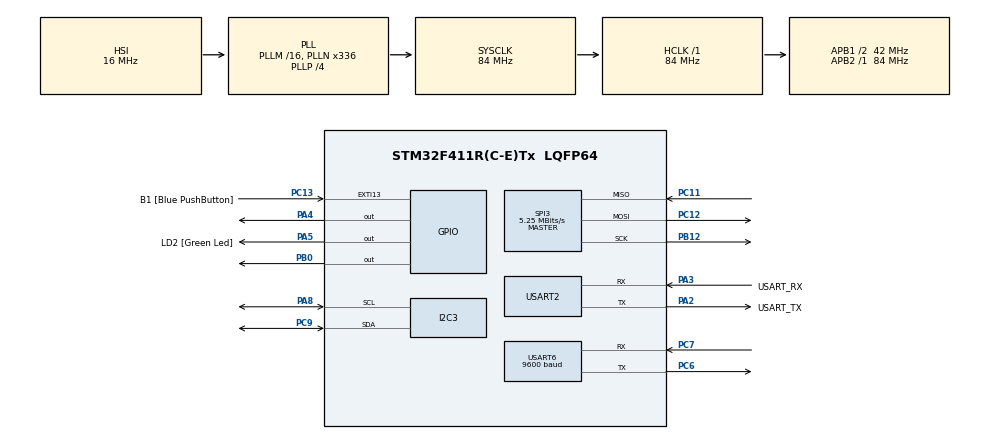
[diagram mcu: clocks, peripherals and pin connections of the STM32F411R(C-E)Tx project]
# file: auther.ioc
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Mcu.Family=STM32F4
Mcu.Name=STM32F411R(C-E)Tx
Mcu.Package=LQFP64
NVIC.PriorityGroup=NVIC_PRIORITYGROUP_0
NVIC.TIM3_IRQn=true\:0\:0\:false\:false\:true\:true\:true\:true
NVIC.USART6_IRQn=true\:0\:0\:false\:false\:true\:true\:true\:true
PA13.GPIO_Label=TMS
PA13.Mode=Serial_Wire
PA13.Signal=SYS_JTMS-SWDIO
PA14.GPIO_Label=TCK
PA14.Mode=Serial_Wire
PA14.Signal=SYS_JTCK-SWCLK
PA2.GPIO_Label=USART_TX
PA2.Mode=Asynchronous
PA2.Signal=USART2_TX
PA3.GPIO_Label=USART_RX
PA3.Mode=Asynchronous
PA3.Signal=USART2_RX
PA4.Signal=GPIO_Output
PA5.GPIO_Label=LD2 [Green Led]
PA5.Signal=GPIO_Output
PA8.Mode=I2C
PA8.Signal=I2C3_SCL
PB0.Signal=GPIO_Output
PB12.Mode=Full_Duplex_Master
PB12.Signal=SPI3_SCK
PB3.GPIO_Label=SWO
PB3.Signal=SYS_JTDO-SWO
PC11.Mode=Full_Duplex_Master
PC11.Signal=SPI3_MISO
PC12.Mode=Full_Duplex_Master
PC12.Signal=SPI3_MOSI
PC13-ANTI_TAMP.GPIO_Label=B1 [Blue PushButton]
PC13-ANTI_TAMP.GPIO_ModeDefaultEXTI=GPIO_MODE_IT_FALLING
PC13-ANTI_TAMP.Signal=GPXTI13
PC14-OSC32_IN.Signal=RCC_OSC32_IN
PC15-OSC32_OUT.Signal=RCC_OSC32_OUT
PC6.Mode=Asynchronous
PC6.Signal=USART6_TX
PC7.Mode=Asynchronous
PC7.Signal=USART6_RX
PC9.Mode=I2C
PC9.Signal=I2C3_SDA
PH0\ -\ OSC_IN.Signal=RCC_OSC_IN
PH1\ -\ OSC_OUT.Signal=RCC_OSC_OUT
ProjectManager.HeapSize=0x200
ProjectManager.StackSize=0x400
ProjectManager.TargetToolchain=STM32CubeIDE
RCC.48MHZClocksFreq_Value=84000000
RCC.AHBFreq_Value=84000000
RCC.APB1CLKDivider=RCC_HCLK_DIV2
RCC.APB1Freq_Value=42000000
RCC.APB1TimFreq_Value=84000000
RCC.APB2Freq_Value=84000000
RCC.APB2TimFreq_Value=84000000
RCC.CortexFreq_Value=84000000
RCC.FLatency-AdvancedSettings=FLASH_LATENCY_2
RCC.HCLKFreq_Value=84000000
RCC.HSE_VALUE=8000000
RCC.HSI_VALUE=16000000
RCC.LSE_VALUE=32768
RCC.PLLN=336
RCC.PLLP=RCC_PLLP_DIV4
RCC.SYSCLKFreq_VALUE=84000000
RCC.SYSCLKSource=RCC_SYSCLKSOURCE_PLLCLK
RCC.VCOOutputFreq_Value=336000000
SPI3.BaudRatePrescaler=SPI_BAUDRATEPRESCALER_8
SPI3.CalculateBaudRate=5.25 MBits/s
SPI3.Direction=SPI_DIRECTION_2LINES
SPI3.Mode=SPI_MODE_MASTER
SPI3.VirtualType=VM_MASTER
TIM3.Period=1000-1
TIM3.Prescaler=84-1
USART2.VirtualMode=VM_ASYNC
USART6.BaudRate=9600
USART6.VirtualMode=VM_ASYNC
VP_TIM3_VS_ClockSourceINT.Mode=Internal
board=NUCLEO-F411RE

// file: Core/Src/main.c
/* USER CODE BEGIN Header */
/**
  ******************************************************************************
  * @file           : main.c
  * @brief          : Main program body
  ******************************************************************************
  * @attention
  *
  * Copyright (c) 2025 STMicroelectronics.
  * All rights reserved.
  *
  * This software is licensed under terms that can be found in the LICENSE file
  * in the root directory of this software component.
  * If no LICENSE file comes with this software, it is provided AS-IS.
  *
  ******************************************************************************
  */
/* USER CODE END Header */
#include "main.h"

/* USER CODE BEGIN Includes */
#include "RC522.h"
#include "clcd.h"
#include "string.h"
#include <stdio.h>
#include <stdlib.h>
/* USER CODE END Includes */

/* USER CODE BEGIN PTD */
#define SEND_USER "SQL"
#define HELMET_USER "HELMET"
#define CMD_SIZE 50
#define ARR_CNT 5

#ifdef __GNUC__
/* With GCC, small printf (option LD Linker->Libraries->Small printf
   set to 'Yes') calls __io_putchar() */
#define PUTCHAR_PROTOTYPE int __io_putchar(int ch)
#else
#define PUTCHAR_PROTOTYPE int fputc(int ch, FILE *f)
#endif /*
/* USER CODE END PTD */

I2C_HandleTypeDef hi2c3;

SPI_HandleTypeDef hspi3;

TIM_HandleTypeDef htim3;

UART_HandleTypeDef huart2;
UART_HandleTypeDef huart6;

/* USER CODE BEGIN PV */
uint8_t rx2char;
volatile unsigned char rx2Flag = 0;
volatile char rx2Data[50];
volatile unsigned char btFlag = 0;
uint8_t btchar;
char btData[50];
volatile int time3SecFlag;
volatile int time3SecCnt;
/* USER CODE END PV */

void SystemClock_Config(void);
static void MX_GPIO_Init(void);
static void MX_USART2_UART_Init(void);
static void MX_SPI3_Init(void);
static void MX_I2C3_Init(void);
static void MX_USART6_UART_Init(void);
static void MX_TIM3_Init(void);
/* USER CODE BEGIN PFP */
void send_sql();
void bluetooth_send(char *user ,char *sendMessage);
int bluetooth_recv_wait();
void select_user(uint8_t * uid);
/* USER CODE END PFP */

int main(void)
{

  /* USER CODE BEGIN 1 */
	uint8_t status;
	uint8_t str[16];
	uint8_t uid[16];
	char senduid[30] = {0};
	char sendmsg[30] = {0};
	char lcdMessage[17] = {0};
  /* USER CODE END 1 */

  /* MCU Configuration--------------------------------------------------------*/

  /* Reset of all peripherals, Initializes the Flash interface and the Systick. */
  HAL_Init();

  /* Configure the system clock */
  SystemClock_Config();

  /* Initialize all configured peripherals */
  MX_GPIO_Init();
  MX_USART2_UART_Init();
  MX_SPI3_Init();
  MX_I2C3_Init();
  MX_USART6_UART_Init();
  MX_TIM3_Init();
  /* USER CODE BEGIN 2 */

  MFRC522_Init();
  LCD_init(&hi2c3);
  HAL_UART_Receive_IT(&huart2, &rx2char,1);
  HAL_UART_Receive_IT(&huart6, &btchar,1);
  if(HAL_TIM_Base_Start_IT(&htim3) != HAL_OK)
  	  Error_Handler();

  LCD_writeStringXY(0, 0, "Auth...");
  LCD_writeStringXY(1, 0, "Waithing...      ");
  printf("test\r\n");
  /* USER CODE END 2 */

  /* Infinite loop */
  /* USER CODE BEGIN WHILE */
  while (1)
  {
	  if(rx2Flag)
	  {
			printf("recv2 : %s\r\n",rx2Data);
			rx2Flag =0;
	  }

	  if(time3SecFlag && time3SecCnt >= 1000) {
		  time3SecFlag = 0;
		  LCD_writeStringXY(1, 0, "Waithing...      ");
	  }

	  status = MFRC522_Request(PICC_REQIDL, str);
	  status = MFRC522_Anticoll(uid);

	  if(status == MI_OK) {
		  select_user((uint8_t *) &uid);

		  int result = bluetooth_recv_wait();

		  if(result) {
			  sprintf(lcdMessage, "%10s", "SUCCESS");
			  LCD_writeStringXY(1, 0, lcdMessage);
			  printf("lcdMessage : %s \r\n", lcdMessage);

			  memset(sendmsg, 0, strlen(senduid));

			  sprintf(sendmsg, "%s\n", "AUTHER");

			  printf("%s \r\n", sendmsg);

			  bluetooth_send(HELMET_USER, (char *) &sendmsg);
		  } else {
			  sprintf(lcdMessage, "%10s", "FLASE");
			  LCD_writeStringXY(1, 0, lcdMessage);
			  printf("lcdMessage : %s \r\n", lcdMessage);
		  }

		  time3SecFlag = 1;
	  }

    /* USER CODE END WHILE */

  }
}

void SystemClock_Config(void)
{
  RCC_OscInitTypeDef RCC_OscInitStruct = {0};
  RCC_ClkInitTypeDef RCC_ClkInitStruct = {0};

  /** Configure the main internal regulator output voltage
  */
  __HAL_RCC_PWR_CLK_ENABLE();
  __HAL_PWR_VOLTAGESCALING_CONFIG(PWR_REGULATOR_VOLTAGE_SCALE1);

  /** Initializes the RCC Oscillators according to the specified parameters
  * in the RCC_OscInitTypeDef structure.
  */
  RCC_OscInitStruct.OscillatorType = RCC_OSCILLATORTYPE_HSI;
  RCC_OscInitStruct.HSIState = RCC_HSI_ON;
  RCC_OscInitStruct.HSICalibrationValue = RCC_HSICALIBRATION_DEFAULT;
  RCC_OscInitStruct.PLL.PLLState = RCC_PLL_ON;
  RCC_OscInitStruct.PLL.PLLSource = RCC_PLLSOURCE_HSI;
  RCC_OscInitStruct.PLL.PLLM = 16;
  RCC_OscInitStruct.PLL.PLLN = 336;
  RCC_OscInitStruct.PLL.PLLP = RCC_PLLP_DIV4;
  RCC_OscInitStruct.PLL.PLLQ = 4;
  if (HAL_RCC_OscConfig(&RCC_OscInitStruct) != HAL_OK)
  {
    Error_Handler();
  }

  /** Initializes the CPU, AHB and APB buses clocks
  */
  RCC_ClkInitStruct.ClockType = RCC_CLOCKTYPE_HCLK|RCC_CLOCKTYPE_SYSCLK
                              |RCC_CLOCKTYPE_PCLK1|RCC_CLOCKTYPE_PCLK2;
  RCC_ClkInitStruct.SYSCLKSource = RCC_SYSCLKSOURCE_PLLCLK;
  RCC_ClkInitStruct.AHBCLKDivider = RCC_SYSCLK_DIV1;
  RCC_ClkInitStruct.APB1CLKDivider = RCC_HCLK_DIV2;
  RCC_ClkInitStruct.APB2CLKDivider = RCC_HCLK_DIV1;

  if (HAL_RCC_ClockConfig(&RCC_ClkInitStruct, FLASH_LATENCY_2) != HAL_OK)
  {
    Error_Handler();
  }
}

static void MX_I2C3_Init(void)
{

  hi2c3.Instance = I2C3;
  hi2c3.Init.ClockSpeed = 100000;
  hi2c3.Init.DutyCycle = I2C_DUTYCYCLE_2;
  hi2c3.Init.OwnAddress1 = 0;
  hi2c3.Init.AddressingMode = I2C_ADDRESSINGMODE_7BIT;
  hi2c3.Init.DualAddressMode = I2C_DUALADDRESS_DISABLE;
  hi2c3.Init.OwnAddress2 = 0;
  hi2c3.Init.GeneralCallMode = I2C_GENERALCALL_DISABLE;
  hi2c3.Init.NoStretchMode = I2C_NOSTRETCH_DISABLE;
  if (HAL_I2C_Init(&hi2c3) != HAL_OK)
  {
    Error_Handler();
  }

}

static void MX_SPI3_Init(void)
{

  /* SPI3 parameter configuration*/
  hspi3.Instance = SPI3;
  hspi3.Init.Mode = SPI_MODE_MASTER;
  hspi3.Init.Direction = SPI_DIRECTION_2LINES;
  hspi3.Init.DataSize = SPI_DATASIZE_8BIT;
  hspi3.Init.CLKPolarity = SPI_POLARITY_LOW;
  hspi3.Init.CLKPhase = SPI_PHASE_1EDGE;
  hspi3.Init.NSS = SPI_NSS_SOFT;
  hspi3.Init.BaudRatePrescaler = SPI_BAUDRATEPRESCALER_8;
  hspi3.Init.FirstBit = SPI_FIRSTBIT_MSB;
  hspi3.Init.TIMode = SPI_TIMODE_DISABLE;
  hspi3.Init.CRCCalculation = SPI_CRCCALCULATION_DISABLE;
  hspi3.Init.CRCPolynomial = 10;
  if (HAL_SPI_Init(&hspi3) != HAL_OK)
  {
    Error_Handler();
  }

}

static void MX_TIM3_Init(void)
{

  TIM_ClockConfigTypeDef sClockSourceConfig = {0};
  TIM_MasterConfigTypeDef sMasterConfig = {0};

  htim3.Instance = TIM3;
  htim3.Init.Prescaler = 84-1;
  htim3.Init.CounterMode = TIM_COUNTERMODE_UP;
  htim3.Init.Period = 1000-1;
  htim3.Init.ClockDivision = TIM_CLOCKDIVISION_DIV1;
  htim3.Init.AutoReloadPreload = TIM_AUTORELOAD_PRELOAD_DISABLE;
  if (HAL_TIM_Base_Init(&htim3) != HAL_OK)
  {
    Error_Handler();
  }
  sClockSourceConfig.ClockSource = TIM_CLOCKSOURCE_INTERNAL;
  if (HAL_TIM_ConfigClockSource(&htim3, &sClockSourceConfig) != HAL_OK)
  {
    Error_Handler();
  }
  sMasterConfig.MasterOutputTrigger = TIM_TRGO_RESET;
  sMasterConfig.MasterSlaveMode = TIM_MASTERSLAVEMODE_DISABLE;
  if (HAL_TIMEx_MasterConfigSynchronization(&htim3, &sMasterConfig) != HAL_OK)
  {
    Error_Handler();
  }

}

static void MX_USART2_UART_Init(void)
{

  huart2.Instance = USART2;
  huart2.Init.BaudRate = 115200;
  huart2.Init.WordLength = UART_WORDLENGTH_8B;
  huart2.Init.StopBits = UART_STOPBITS_1;
  huart2.Init.Parity = UART_PARITY_NONE;
  huart2.Init.Mode = UART_MODE_TX_RX;
  huart2.Init.HwFlowCtl = UART_HWCONTROL_NONE;
  huart2.Init.OverSampling = UART_OVERSAMPLING_16;
  if (HAL_UART_Init(&huart2) != HAL_OK)
  {
    Error_Handler();
  }

}

static void MX_USART6_UART_Init(void)
{

  huart6.Instance = USART6;
  huart6.Init.BaudRate = 9600;
  huart6.Init.WordLength = UART_WORDLENGTH_8B;
  huart6.Init.StopBits = UART_STOPBITS_1;
  huart6.Init.Parity = UART_PARITY_NONE;
  huart6.Init.Mode = UART_MODE_TX_RX;
  huart6.Init.HwFlowCtl = UART_HWCONTROL_NONE;
  huart6.Init.OverSampling = UART_OVERSAMPLING_16;
  if (HAL_UART_Init(&huart6) != HAL_OK)
  {
    Error_Handler();
  }

}

static void MX_GPIO_Init(void)
{
  GPIO_InitTypeDef GPIO_InitStruct = {0};

  /* GPIO Ports Clock Enable */
  __HAL_RCC_GPIOC_CLK_ENABLE();
  __HAL_RCC_GPIOH_CLK_ENABLE();
  __HAL_RCC_GPIOA_CLK_ENABLE();
  __HAL_RCC_GPIOB_CLK_ENABLE();

  /*Configure GPIO pin Output Level */
  HAL_GPIO_WritePin(GPIOA, GPIO_PIN_4|LD2_Pin, GPIO_PIN_RESET);

  /*Configure GPIO pin Output Level */
  HAL_GPIO_WritePin(GPIOB, GPIO_PIN_0, GPIO_PIN_RESET);

  /*Configure GPIO pin : B1_Pin */
  GPIO_InitStruct.Pin = B1_Pin;
  GPIO_InitStruct.Mode = GPIO_MODE_IT_FALLING;
  GPIO_InitStruct.Pull = GPIO_NOPULL;
  HAL_GPIO_Init(B1_GPIO_Port, &GPIO_InitStruct);

  /*Configure GPIO pins : PA4 LD2_Pin */
  GPIO_InitStruct.Pin = GPIO_PIN_4|LD2_Pin;
  GPIO_InitStruct.Mode = GPIO_MODE_OUTPUT_PP;
  GPIO_InitStruct.Pull = GPIO_NOPULL;
  GPIO_InitStruct.Speed = GPIO_SPEED_FREQ_LOW;
  HAL_GPIO_Init(GPIOA, &GPIO_InitStruct);

  /*Configure GPIO pin : PB0 */
  GPIO_InitStruct.Pin = GPIO_PIN_0;
  GPIO_InitStruct.Mode = GPIO_MODE_OUTPUT_PP;
  GPIO_InitStruct.Pull = GPIO_NOPULL;
  GPIO_InitStruct.Speed = GPIO_SPEED_FREQ_LOW;
  HAL_GPIO_Init(GPIOB, &GPIO_InitStruct);

}

/* USER CODE BEGIN 4 */

PUTCHAR_PROTOTYPE
{
  /* Place your implementation of fputc here */
  /* e.g. write a character to the USART6 and Loop until the end of transmission */
  HAL_UART_Transmit(&huart2, (uint8_t *)&ch, 1, 0xFFFF);

  return ch;
}

void HAL_UART_RxCpltCallback(UART_HandleTypeDef *huart)
{
    if(huart->Instance == USART2)
    {
    	static int i=0;
    	rx2Data[i] = rx2char;
    	if((rx2Data[i] == '\r')||(rx2Data[i] == '\n'))
    	{
    		rx2Data[i] = '\0';
    		rx2Flag = 1;
    		i = 0;
    	}
    	else
    	{
    		i++;
    	}
    	HAL_UART_Receive_IT(&huart2, &rx2char,1);
    }
    if(huart->Instance == USART6)
    {
    	static int i=0;
    	btData[i] = btchar;
    	if((btData[i] == '\n') || btData[i] == '\r')
    	{
    		btData[i] = '\0';
    		btFlag = 1;
    		i = 0;
    	}
    	else
    	{
    		i++;
    	}
    	HAL_UART_Receive_IT(&huart6, &btchar,1);
    }
}

void bluetooth_send(char *user ,char *sendMessage)
{
	char sendBuf[CMD_SIZE]={0};
	sprintf(sendBuf,"[%s]%s\n", user, sendMessage);
	HAL_UART_Transmit(&huart6, (uint8_t *)sendBuf, strlen(sendBuf), 0xFFFF);
}

int bluetooth_recv_wait()
{
	int i=0;
	char * pArray[ARR_CNT]={0};
	char * pToken;
	char recvBuf[CMD_SIZE]={0};
	int result;

	while(!btFlag) {
	}

	strcpy(recvBuf,btData);
	printf("btData : \%s\r\n",btData);
	pToken = strtok(recvBuf,"[@]");

	while(pToken != NULL)
	{
		pArray[i] =  pToken;
		if(++i >= ARR_CNT)
		  break;
		pToken = strtok(NULL,"[@]");
	}

	if(!strcmp(pArray[1],"AUTHER"))
	{
		result = atoi(pArray[2]);
	} else {
		result = 0;
	}

	return result;
}

void select_user(uint8_t *uid) {
	char sendmsg[30] = {0};
	char hex_uid[15] = {0};
	char sNum[4] = {0};

	memset(sendmsg, 0, strlen(sendmsg));

	sprintf(sendmsg, "%s ", "GETUSER@");

	sendmsg[strlen(sendmsg) - 1] = 0;

	memcpy(sNum, uid, 4);
	sprintf(hex_uid, "%X %X %X %X", sNum[0], sNum[1], sNum[2], sNum[3]);
	strcat(sendmsg, hex_uid);

	bluetooth_send(SEND_USER, (char *)&sendmsg);
}

void HAL_TIM_PeriodElapsedCallback(TIM_HandleTypeDef *htim) {
	if(time3SecFlag) {
		time3SecCnt++;
	} else {
		time3SecCnt = 0;
	}
}
/* USER CODE END 4 */

void Error_Handler(void)
{
  __disable_irq();
  while (1)
  {
  }
}
